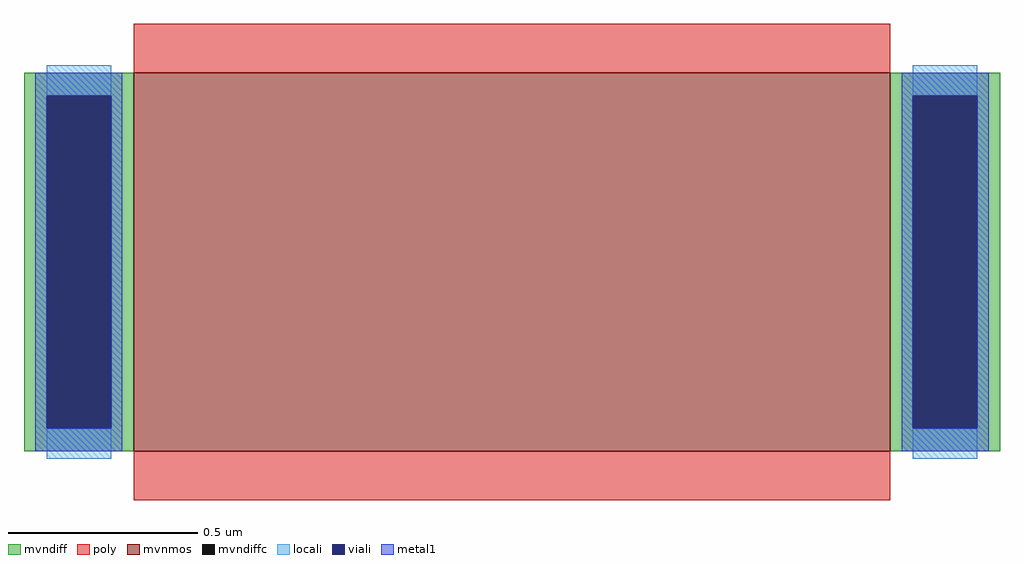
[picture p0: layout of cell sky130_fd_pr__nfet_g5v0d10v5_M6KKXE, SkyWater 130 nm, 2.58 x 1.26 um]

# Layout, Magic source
magic
tech sky130A
<< mvnmos >>
rect -100 -50 100 50
<< mvndiff >>
rect -129 44 -100 50
rect -129 -44 -123 44
rect -106 -44 -100 44
rect -129 -50 -100 -44
rect 100 44 129 50
rect 100 -44 106 44
rect 123 -44 129 44
rect 100 -50 129 -44
<< mvndiffc >>
rect -123 -44 -106 44
rect 106 -44 123 44
<< poly >>
rect -100 50 100 63
rect -100 -63 100 -50
<< locali >>
rect -123 44 -106 52
rect -123 -52 -106 -44
rect 106 44 123 52
rect 106 -52 123 -44
<< viali >>
rect -123 -44 -106 44
rect 106 -44 123 44
<< metal1 >>
rect -126 44 -103 50
rect -126 -44 -123 44
rect -106 -44 -103 44
rect -126 -50 -103 -44
rect 103 44 126 50
rect 103 -44 106 44
rect 123 -44 126 44
rect 103 -50 126 -44
<< properties >>
string gencell sky130_fd_pr__nfet_g5v0d10v5
string library sky130
string parameters w 1 l 2 m 1 nf 1 diffcov 100 polycov 80 guard 0 glc 1 grc 1 gtc 1 gbc 1 tbcov 100 rlcov 80 topc 0 botc 0 poverlap 0 doverlap 1 lmin 0.50 wmin 0.42 class mosfet compatible {sky130_fd_pr__nfet_01v8 sky130_fd_pr__nfet_01v8_lvt  sky130_fd_bs_flash__special_sonosfet_star  sky130_fd_pr__nfet_g5v0d10v5 sky130_fd_pr__nfet_05v0_nvt  sky130_fd_pr__nfet_03v3_nvt} full_metal 1 viasrc 100 viadrn 100 viagate 80 viagb 0 viagr 0 viagl 0 viagt 0
<< end >>
